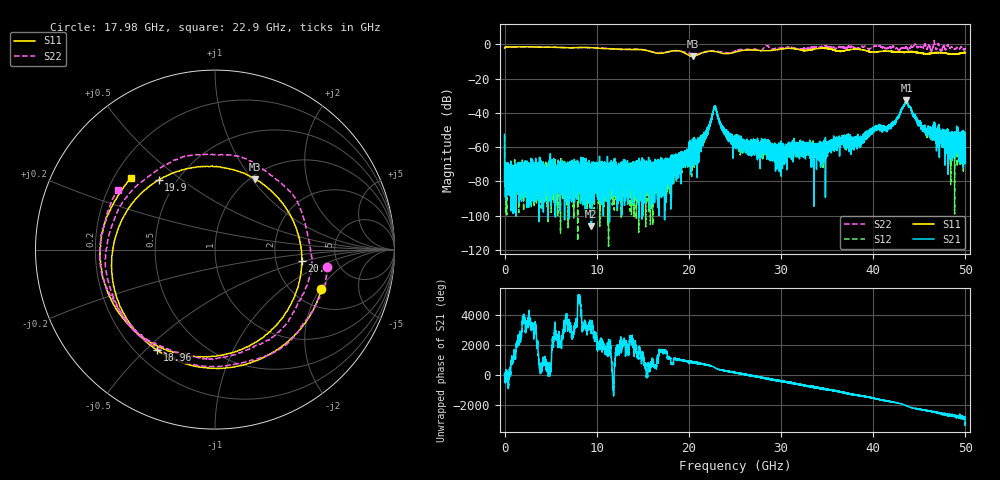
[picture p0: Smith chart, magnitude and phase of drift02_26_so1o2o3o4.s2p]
!Created with skrf (http://scikit-rf.org).
# Hz S RI R 50.0
!freq ReS11 ImS11 ReS21 ImS21 ReS12 ImS12 ReS22 ImS22
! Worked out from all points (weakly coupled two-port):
!   10001 points, 300 kHz to 50 GHz, reference 50 ohm
!   highest |S21| = -32.63 dB at 43.61 GHz (marker M1); lowest = -106.2 dB at 9.38 GHz (marker M2)
!   lowest |S11| = -6.9 dB at 20.39 GHz (marker M3), VSWR 2.65, Z = 52.6 + j51.8 ohm
!   |S11| at or under -10 dB: nowhere
!   |S22| runs from -5.7 to 2.3 dB; largest |S21 - S12| = 0.0031
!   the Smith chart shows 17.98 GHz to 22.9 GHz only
!   S11 on the Smith chart (normalised r, x): 17.98 GHz: 2.80, -2.04; 18.96 GHz: 0.28, -0.54; 19.9 GHz: 0.40, +0.41; 20.9 GHz: 2.82, -0.45; 22.9 GHz: 0.27, +0.34
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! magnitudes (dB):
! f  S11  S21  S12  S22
! 300 kHz  -2.1  -52.5  -53.6  -2.1
! 255.3 MHz  -1.4  -76.2  -85.0  -1.4
! 8.335 GHz  -1.7  -77.1  -78.1  -1.9
! 9.38 GHz  -1.9  -106.2  -76.1  -2.0
! 16.67 GHz  -5.2  -95.6  -69.5  -4.7
! 17.98 GHz  -4.0  -66.7  -70.3  -4.0
! 18.96 GHz  -3.8  -70.5  -67.6  -3.9
! 19.9 GHz  -6.0  -65.3  -62.6  -5.2
! 20.39 GHz  -6.9  -63.7  -63.6  -5.4
! 20.9 GHz  -6.2  -58.0  -59.1  -5.6
! 21.74 GHz  -4.3  -52.9  -52.1  -4.5
! 22.9 GHz  -4.2  -36.5  -36.6  -3.9
! 23.82 GHz  -5.3  -49.9  -49.4  -4.6
! 25 GHz  -4.5  -57.9  -56.1  -3.9
! 29.57 GHz  -3.0  -63.1  -61.6  -2.1
! 33.34 GHz  -3.0  -61.6  -64.4  -1.6
! 41.67 GHz  -4.0  -48.5  -48.9  -1.9
! 43.61 GHz  -4.4  -32.6  -33.3  -1.3
! 45.79 GHz  -5.4  -51.3  -51.7  -2.2
! 49.3 GHz  -5.3  -57.9  -55.2  -2.8
! 49.74 GHz  -4.9  -54.7  -64.7  -2.5
! 50 GHz  -4.8  -69.4  -56.0  -2.6
